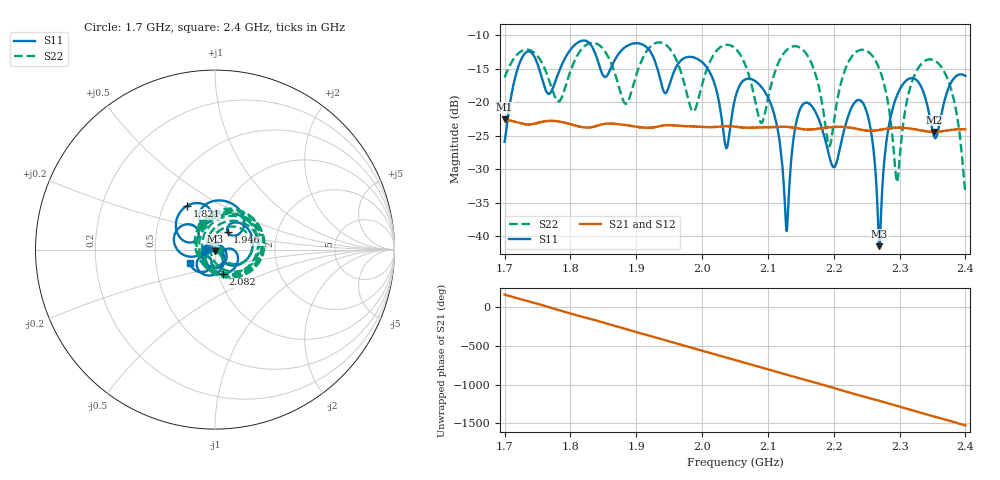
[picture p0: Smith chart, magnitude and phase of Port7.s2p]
# Hz S RI R 50
! CMT, CMT808U, 21440046, 21.4.3/4
! Date: 9/9/2026 12:52:11 AM
! Data: Format (Calibration Info)
! Freq	S11:Re/Im(F2)	S41:Re/Im(F2)	S14:Re/Im(F2)	S44:Re/Im(F2)
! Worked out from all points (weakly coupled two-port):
!   3001 points, 1.7 GHz to 2.4 GHz, reference 50 ohm
!   highest |S21| = -22.56 dB at 1.7 GHz (marker M1); lowest = -24.4 dB at 2.353 GHz (marker M2)
!   lowest |S11| = -41.5 dB at 2.269 GHz (marker M3), VSWR 1.02, Z = 49.8 - j0.828 ohm
!   |S11| at or under -10 dB: start of sweep to end of sweep
!   |S22| runs from -33.3 to -11.0 dB; largest |S21 - S12| = 0.0011
!   S11 on the Smith chart (normalised r, x): 1.7 GHz: 0.90, +0.00; 1.821 GHz: 0.66, +0.35; 1.946 GHz: 1.13, +0.22; 2.082 GHz: 1.05, -0.29; 2.4 GHz: 0.75, -0.11
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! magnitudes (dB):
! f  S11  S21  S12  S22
! 1.7 GHz  -25.9  -22.6  -22.6  -16.3
! 1.73 GHz  -12.8  -23.2  -23.3  -12.2
! 1.782 GHz  -15.6  -22.9  -22.9  -19.8
! 1.817 GHz  -10.8  -23.7  -23.7  -12.1
! 1.821 GHz  -10.8  -23.7  -23.8  -11.6
! 1.884 GHz  -11.7  -23.4  -23.4  -20.2
! 1.934 GHz  -15.5  -23.6  -23.6  -11.1
! 1.946 GHz  -18.4  -23.4  -23.4  -11.5
! 1.987 GHz  -13.3  -23.6  -23.6  -21.4
! 2.036 GHz  -26.8  -23.6  -23.6  -11.4
! 2.05 GHz  -19.5  -23.6  -23.6  -11.9
! 2.082 GHz  -16.9  -23.8  -23.8  -20.2
! 2.128 GHz  -39.2  -23.7  -23.7  -12.2
! 2.144 GHz  -22.5  -23.9  -23.9  -11.6
! 2.167 GHz  -20.6  -24.0  -24.0  -14.3
! 2.193 GHz  -28.1  -23.7  -23.7  -26.5
! 2.245 GHz  -20.2  -24.2  -24.2  -12.1
! 2.269 GHz  -41.5  -24.1  -24.1  -15.0
! 2.284 GHz  -23.6  -23.9  -23.9  -20.7
! 2.296 GHz  -18.9  -23.8  -23.8  -31.8
! 2.353 GHz  -25.2  -24.4  -24.4  -13.7
! 2.4 GHz  -16.1  -24.0  -24.0  -33.3
